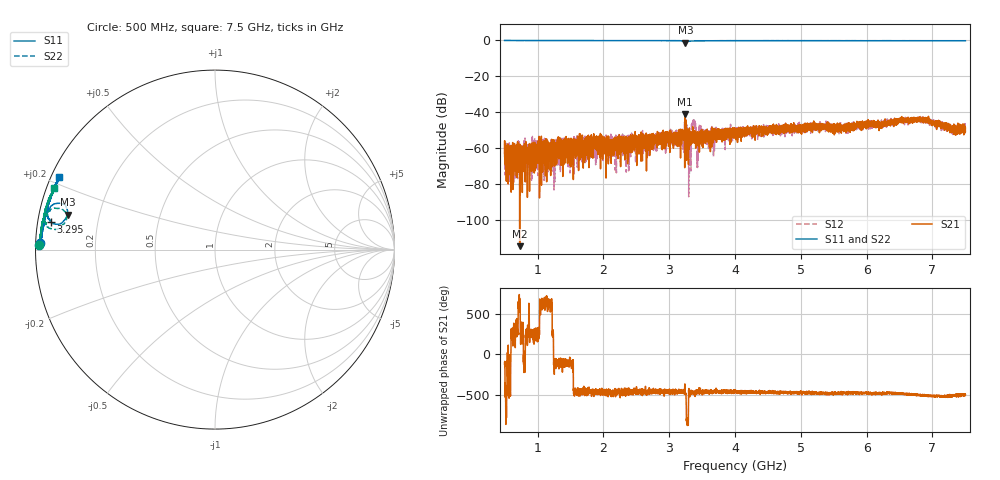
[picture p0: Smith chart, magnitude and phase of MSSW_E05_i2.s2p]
!Keysight Technologies,M9374A,MY55442783,A.12.55.05
!Date: Thursday, May 20, 2021 11:44:29
!Correction: S11(Full 2 Port(1,2))
!S21(Full 2 Port(1,2))
!S12(Full 2 Port(1,2))
!S22(Full 2 Port(1,2))
!S2P File: Measurements: S11, S21, S12, S22:
# Hz S  RI  R 50
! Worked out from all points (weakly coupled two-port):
!   7001 points, 500 MHz to 7.5 GHz, reference 50 ohm
!   highest |S21| = -41.21 dB at 3.243 GHz (marker M1); lowest = -114.3 dB at 729 MHz (marker M2)
!   lowest |S11| = -1.5 dB at 3.247 GHz (marker M3), VSWR 11.59, Z = 4.37 + j5.82 ohm
!   |S11| at or under -10 dB: nowhere
!   |S22| runs from -1.5 to -0.2 dB; largest |S21 - S12| = 0.013
!   S11 on the Smith chart (normalised r, x): 500 MHz: 0.01, +0.02; 3.295 GHz: 0.04, +0.08; 7.5 GHz: 0.02, +0.22
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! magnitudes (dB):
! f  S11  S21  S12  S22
! 500 MHz  -0.2  -63.0  -65.1  -0.2
! 558 MHz  -0.2  -70.0  -64.2  -0.2
! 729 MHz  -0.2  -114.3  -68.6  -0.2
! 1.667 GHz  -0.3  -63.5  -59.0  -0.2
! 2.375 GHz  -0.3  -55.7  -59.0  -0.2
! 2.834 GHz  -0.3  -53.9  -56.0  -0.2
! 3.195 GHz  -0.5  -55.0  -53.0  -0.4
! 3.243 GHz  -1.4  -41.2  -44.7  -1.3
! 3.247 GHz  -1.5  -46.6  -40.6  -1.5
! 3.295 GHz  -0.7  -58.0  -63.2  -0.6
! 3.318 GHz  -0.6  -52.3  -60.4  -0.5
! 3.373 GHz  -0.5  -54.4  -44.3  -0.4
! 3.41 GHz  -0.5  -57.1  -51.5  -0.4
! 3.442 GHz  -0.5  -52.7  -55.7  -0.4
! 3.481 GHz  -0.4  -52.5  -50.1  -0.4
! 3.585 GHz  -0.4  -50.6  -55.6  -0.3
! 4 GHz  -0.3  -50.6  -53.6  -0.3
! 5.167 GHz  -0.4  -49.4  -48.3  -0.3
! 6.334 GHz  -0.4  -45.5  -46.0  -0.3
! 6.909 GHz  -0.4  -44.4  -44.7  -0.4
! 7.309 GHz  -0.4  -48.4  -50.5  -0.3
! 7.5 GHz  -0.4  -50.7  -49.1  -0.4
